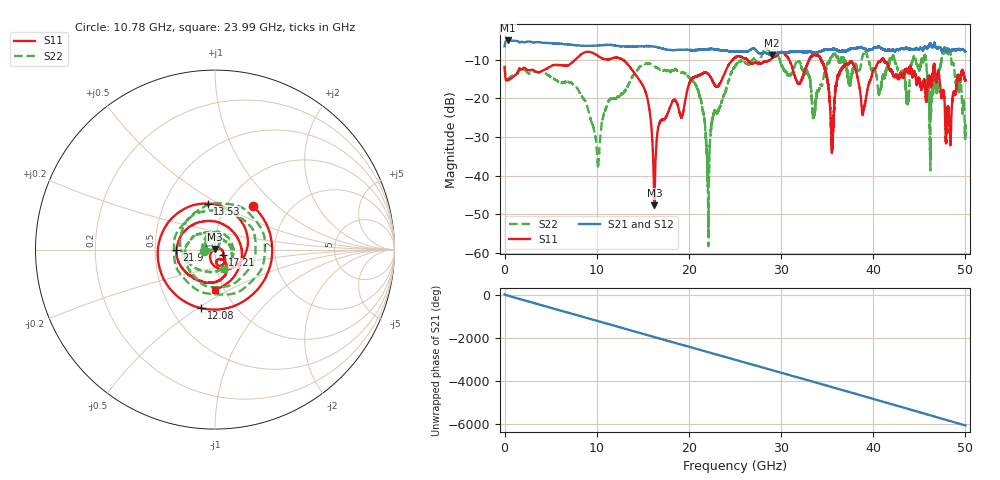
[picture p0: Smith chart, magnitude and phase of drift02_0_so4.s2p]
!Created with skrf (http://scikit-rf.org).
# Hz S RI R 50.0
!freq ReS11 ImS11 ReS21 ImS21 ReS12 ImS12 ReS22 ImS22
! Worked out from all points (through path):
!   10001 points, 300 kHz to 50 GHz, reference 50 ohm
!   highest |S21| = -5.04 dB at 375.3 MHz (marker M1); lowest = -8.9 dB at 28.98 GHz (marker M2)
!   group delay of S21, straight-line fit = 336 ps
!   lowest |S11| = -47.7 dB at 16.25 GHz (marker M3), VSWR 1.01, Z = 49.9 + j0.384 ohm
!   |S11| at or under -10 dB: start of sweep to 7.67 GHz; 12.81 GHz to 24.77 GHz (11.96 GHz wide, 63.7 % of centre); 41.13 GHz to end of sweep (the widest 3 of 13)
!   |S22| runs from -58.3 to -6.9 dB; largest |S21 - S12| = 0.03
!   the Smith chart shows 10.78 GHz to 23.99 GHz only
!   S11 on the Smith chart (normalised r, x): 10.78 GHz: 1.32, +0.71; 12.08 GHz: 0.70, -0.51; 13.53 GHz: 0.81, +0.45; 17.21 GHz: 1.09, -0.07; 21.9 GHz: 0.65, -0.00; 23.99 GHz: 0.90, -0.43
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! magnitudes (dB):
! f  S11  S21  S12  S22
! 300 kHz  -11.9  -6.6  -6.5  -11.8
! 375.3 MHz  -15.2  -5.0  -5.0  -15.0
! 8.335 GHz  -8.6  -6.4  -6.4  -19.2
! 10.11 GHz  -9.0  -6.4  -6.3  -36.8
! 10.78 GHz  -9.8  -6.2  -6.2  -23.8
! 12.08 GHz  -9.5  -6.4  -6.4  -20.1
! 13.53 GHz  -11.7  -6.6  -6.6  -16.1
! 16.25 GHz  -47.7  -6.7  -6.6  -11.6
! 16.67 GHz  -27.5  -6.9  -6.8  -12.2
! 17.21 GHz  -25.5  -7.2  -7.2  -12.8
! 20.75 GHz  -14.3  -7.5  -7.5  -16.7
! 21.9 GHz  -13.4  -7.3  -7.3  -32.1
! 23.99 GHz  -12.9  -7.7  -7.7  -18.3
! 25 GHz  -9.5  -7.9  -7.9  -11.7
! 28.98 GHz  -9.8  -8.9  -8.9  -8.2
! 33.34 GHz  -9.1  -8.0  -8.0  -20.5
! 35.54 GHz  -33.7  -7.4  -7.4  -9.1
! 36.79 GHz  -11.7  -7.8  -8.0  -9.8
! 41.67 GHz  -12.0  -7.4  -7.6  -11.6
! 46.24 GHz  -16.7  -6.0  -6.1  -25.9
! 48.1 GHz  -22.0  -7.4  -7.3  -8.4
! 50 GHz  -15.4  -8.0  -8.0  -27.6
